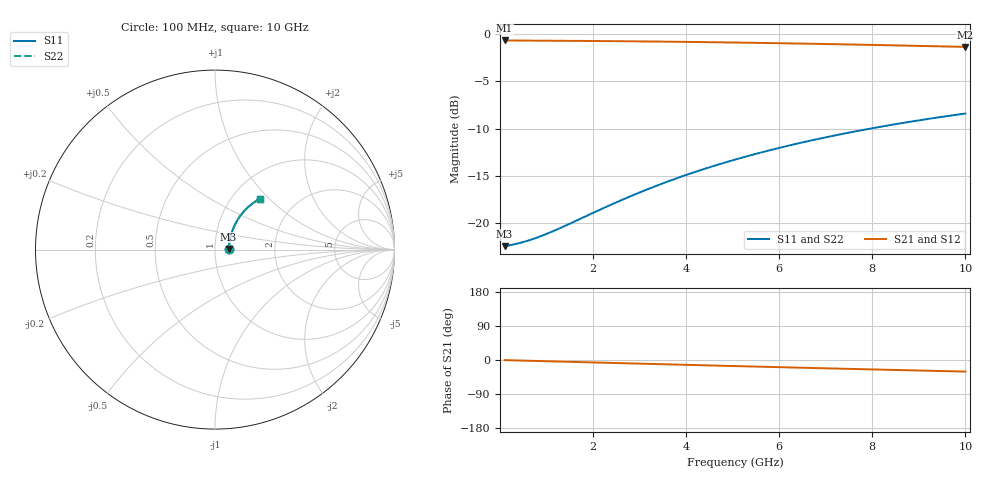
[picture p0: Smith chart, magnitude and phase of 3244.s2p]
# Hz S RI R 50.00
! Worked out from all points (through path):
!   100 points, 100 MHz to 10 GHz, reference 50 ohm
!   highest |S21| = -0.68 dB at 100 MHz (marker M1); lowest = -1.4 dB at 10 GHz (marker M2)
!   group delay of S21, straight-line fit = 8.51 ps
!   lowest |S11| = -22.4 dB at 100 MHz (marker M3), VSWR 1.16, Z = 58.2 + j0.435 ohm
!   |S11| at or under -10 dB: start of sweep to 7.952 GHz
!   |S22| runs from -22.4 to -8.4 dB; largest |S21 - S12| = 0
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1e8  0.0757 0.00371  0.9243 -0.0052  0.9243 -0.0052  0.0757 0.00371
3e8  0.0766 0.0111  0.9234 -0.0156  0.9234 -0.0156  0.0766 0.0111
5e8  0.0775 0.0185  0.9225 -0.0259  0.9225 -0.0259  0.0775 0.0185
8e8  0.0788 0.0295  0.9211 -0.0414  0.9211 -0.0414  0.0788 0.0295
1e9  0.0799 0.0368  0.92 -0.0517  0.92 -0.0517  0.0799 0.0368
1.2e9  0.081 0.0441  0.9188 -0.062  0.9188 -0.062  0.081 0.0441
1.8e9  0.0853 0.0658  0.9143 -0.0925  0.9143 -0.0925  0.0853 0.0658
2.3e9  0.0899 0.0835  0.9095 -0.1177  0.9095 -0.1177  0.0899 0.0835
2.7e9  0.0942 0.0974  0.9049 -0.1376  0.9049 -0.1376  0.0942 0.0974
3.1e9  0.0991 0.1111  0.8997 -0.1573  0.8997 -0.1573  0.0991 0.1111
3.4e9  0.1032 0.1212  0.8955 -0.1718  0.8955 -0.1718  0.1032 0.1212
3.8e9  0.109 0.1344  0.8893 -0.191  0.8893 -0.191  0.109 0.1344
4.2e9  0.1154 0.1472  0.8825 -0.2098  0.8825 -0.2098  0.1154 0.1472
4.6e9  0.1223 0.1597  0.8752 -0.2282  0.8752 -0.2282  0.1223 0.1597
5.1e9  0.1316 0.1747  0.8653 -0.2508  0.8653 -0.2508  0.1316 0.1747
5.5e9  0.1396 0.1863  0.8568 -0.2684  0.8568 -0.2684  0.1396 0.1863
5.9e9  0.148 0.1975  0.8479 -0.2855  0.8479 -0.2855  0.148 0.1975
6.7e9  0.166 0.2185  0.8287 -0.3185  0.8287 -0.3185  0.166 0.2185
7.5e9  0.1854 0.2375  0.808 -0.3497  0.808 -0.3497  0.1854 0.2375
8.4e9  0.2086 0.2567  0.7831 -0.3824  0.7831 -0.3824  0.2086 0.2567
9.2e9  0.2302 0.2715  0.7599 -0.4094  0.7599 -0.4094  0.2302 0.2715
1e10  0.2524 0.2844  0.7358 -0.4344  0.7358 -0.4344  0.2524 0.2844
